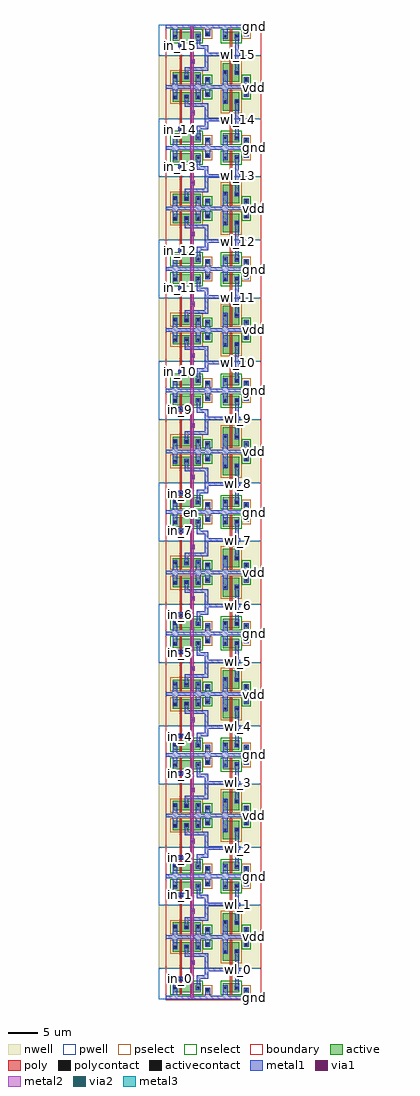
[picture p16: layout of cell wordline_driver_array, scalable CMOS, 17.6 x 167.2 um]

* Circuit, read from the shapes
.subckt wordline_driver_array en gnd in_0 in_1 in_10 in_11 in_12 in_13 in_14 in_15 in_2 in_3 in_4 in_5 in_6 in_7 in_8 in_9 vdd wl_0 wl_1 wl_10 wl_11 wl_12 wl_13 wl_14 wl_15 wl_2 wl_3 wl_4 wl_5 wl_6 wl_7 wl_8 wl_9
M1 wordline_driver_0/pnand2_0/nmos_m1_w1_600_sm1_dactive_2/D in_0 gnd gnd nfet w=1.6u l=0.4u
M2 wordline_driver_1/pnand2_0/nmos_m1_w1_600_sm1_dactive_2/D in_1 gnd gnd nfet w=1.6u l=0.4u
M3 wordline_driver_2/pnand2_0/nmos_m1_w1_600_sm1_dactive_2/D in_2 gnd gnd nfet w=1.6u l=0.4u
M4 wordline_driver_3/pnand2_0/nmos_m1_w1_600_sm1_dactive_2/D in_3 gnd gnd nfet w=1.6u l=0.4u
M5 wordline_driver_4/pnand2_0/nmos_m1_w1_600_sm1_dactive_2/D in_4 gnd gnd nfet w=1.6u l=0.4u
M6 wordline_driver_5/pnand2_0/nmos_m1_w1_600_sm1_dactive_2/D in_5 gnd gnd nfet w=1.6u l=0.4u
M7 wordline_driver_6/pnand2_0/nmos_m1_w1_600_sm1_dactive_2/D in_6 gnd gnd nfet w=1.6u l=0.4u
M8 wordline_driver_7/pnand2_0/nmos_m1_w1_600_sm1_dactive_2/D in_7 gnd gnd nfet w=1.6u l=0.4u
M9 wordline_driver_8/pnand2_0/nmos_m1_w1_600_sm1_dactive_2/D in_8 gnd gnd nfet w=1.6u l=0.4u
M10 wordline_driver_9/pnand2_0/nmos_m1_w1_600_sm1_dactive_2/D in_9 gnd gnd nfet w=1.6u l=0.4u
M11 wordline_driver_10/pnand2_0/nmos_m1_w1_600_sm1_dactive_2/D in_10 gnd gnd nfet w=1.6u l=0.4u
M12 wordline_driver_11/pnand2_0/nmos_m1_w1_600_sm1_dactive_2/D in_11 gnd gnd nfet w=1.6u l=0.4u
M13 wordline_driver_12/pnand2_0/nmos_m1_w1_600_sm1_dactive_2/D in_12 gnd gnd nfet w=1.6u l=0.4u
M14 wordline_driver_13/pnand2_0/nmos_m1_w1_600_sm1_dactive_2/D in_13 gnd gnd nfet w=1.6u l=0.4u
M15 wordline_driver_14/pnand2_0/nmos_m1_w1_600_sm1_dactive_2/D in_14 gnd gnd nfet w=1.6u l=0.4u
M16 wordline_driver_15/pnand2_0/nmos_m1_w1_600_sm1_dactive_2/D in_15 gnd gnd nfet w=1.6u l=0.4u
M17 wordline_driver_0/pinv_0_1/A en wordline_driver_0/pnand2_0/nmos_m1_w1_600_sm1_dactive_2/D gnd nfet w=1.6u l=0.4u
M18 wordline_driver_1/pinv_0_1/A en wordline_driver_1/pnand2_0/nmos_m1_w1_600_sm1_dactive_2/D gnd nfet w=1.6u l=0.4u
M19 wordline_driver_2/pinv_0_1/A en wordline_driver_2/pnand2_0/nmos_m1_w1_600_sm1_dactive_2/D gnd nfet w=1.6u l=0.4u
M20 wordline_driver_3/pinv_0_1/A en wordline_driver_3/pnand2_0/nmos_m1_w1_600_sm1_dactive_2/D gnd nfet w=1.6u l=0.4u
M21 wordline_driver_4/pinv_0_1/A en wordline_driver_4/pnand2_0/nmos_m1_w1_600_sm1_dactive_2/D gnd nfet w=1.6u l=0.4u
M22 wordline_driver_5/pinv_0_1/A en wordline_driver_5/pnand2_0/nmos_m1_w1_600_sm1_dactive_2/D gnd nfet w=1.6u l=0.4u
M23 wordline_driver_6/pinv_0_1/A en wordline_driver_6/pnand2_0/nmos_m1_w1_600_sm1_dactive_2/D gnd nfet w=1.6u l=0.4u
M24 wordline_driver_7/pinv_0_1/A en wordline_driver_7/pnand2_0/nmos_m1_w1_600_sm1_dactive_2/D gnd nfet w=1.6u l=0.4u
M25 wordline_driver_8/pinv_0_1/A en wordline_driver_8/pnand2_0/nmos_m1_w1_600_sm1_dactive_2/D gnd nfet w=1.6u l=0.4u
M26 wordline_driver_9/pinv_0_1/A en wordline_driver_9/pnand2_0/nmos_m1_w1_600_sm1_dactive_2/D gnd nfet w=1.6u l=0.4u
M27 wordline_driver_10/pinv_0_1/A en wordline_driver_10/pnand2_0/nmos_m1_w1_600_sm1_dactive_2/D gnd nfet w=1.6u l=0.4u
M28 wordline_driver_11/pinv_0_1/A en wordline_driver_11/pnand2_0/nmos_m1_w1_600_sm1_dactive_2/D gnd nfet w=1.6u l=0.4u
M29 wordline_driver_12/pinv_0_1/A en wordline_driver_12/pnand2_0/nmos_m1_w1_600_sm1_dactive_2/D gnd nfet w=1.6u l=0.4u
M30 wordline_driver_13/pinv_0_1/A en wordline_driver_13/pnand2_0/nmos_m1_w1_600_sm1_dactive_2/D gnd nfet w=1.6u l=0.4u
M31 wordline_driver_14/pinv_0_1/A en wordline_driver_14/pnand2_0/nmos_m1_w1_600_sm1_dactive_2/D gnd nfet w=1.6u l=0.4u
M32 wordline_driver_15/pinv_0_1/A en wordline_driver_15/pnand2_0/nmos_m1_w1_600_sm1_dactive_2/D gnd nfet w=1.6u l=0.4u
M33 wl_0 wordline_driver_0/pinv_0_1/A gnd gnd nfet w=1.6u l=0.4u
M34 wl_1 wordline_driver_1/pinv_0_1/A gnd gnd nfet w=1.6u l=0.4u
M35 wl_2 wordline_driver_2/pinv_0_1/A gnd gnd nfet w=1.6u l=0.4u
M36 wl_3 wordline_driver_3/pinv_0_1/A gnd gnd nfet w=1.6u l=0.4u
M37 wl_4 wordline_driver_4/pinv_0_1/A gnd gnd nfet w=1.6u l=0.4u
M38 wl_5 wordline_driver_5/pinv_0_1/A gnd gnd nfet w=1.6u l=0.4u
M39 wl_6 wordline_driver_6/pinv_0_1/A gnd gnd nfet w=1.6u l=0.4u
M40 wl_7 wordline_driver_7/pinv_0_1/A gnd gnd nfet w=1.6u l=0.4u
M41 wl_8 wordline_driver_8/pinv_0_1/A gnd gnd nfet w=1.6u l=0.4u
M42 wl_9 wordline_driver_9/pinv_0_1/A gnd gnd nfet w=1.6u l=0.4u
M43 wl_10 wordline_driver_10/pinv_0_1/A gnd gnd nfet w=1.6u l=0.4u
M44 wl_11 wordline_driver_11/pinv_0_1/A gnd gnd nfet w=1.6u l=0.4u
M45 wl_12 wordline_driver_12/pinv_0_1/A gnd gnd nfet w=1.6u l=0.4u
M46 wl_13 wordline_driver_13/pinv_0_1/A gnd gnd nfet w=1.6u l=0.4u
M47 wl_14 wordline_driver_14/pinv_0_1/A gnd gnd nfet w=1.6u l=0.4u
M48 wl_15 wordline_driver_15/pinv_0_1/A gnd gnd nfet w=1.6u l=0.4u
M49 wordline_driver_0/pinv_0_1/A in_0 vdd vdd pfet w=1.6u l=0.4u
M50 wordline_driver_1/pinv_0_1/A in_1 vdd vdd pfet w=1.6u l=0.4u
M51 wordline_driver_2/pinv_0_1/A in_2 vdd vdd pfet w=1.6u l=0.4u
M52 wordline_driver_3/pinv_0_1/A in_3 vdd vdd pfet w=1.6u l=0.4u
M53 wordline_driver_4/pinv_0_1/A in_4 vdd vdd pfet w=1.6u l=0.4u
M54 wordline_driver_5/pinv_0_1/A in_5 vdd vdd pfet w=1.6u l=0.4u
M55 wordline_driver_6/pinv_0_1/A in_6 vdd vdd pfet w=1.6u l=0.4u
M56 wordline_driver_7/pinv_0_1/A in_7 vdd vdd pfet w=1.6u l=0.4u
M57 wordline_driver_8/pinv_0_1/A in_8 vdd vdd pfet w=1.6u l=0.4u
M58 wordline_driver_9/pinv_0_1/A in_9 vdd vdd pfet w=1.6u l=0.4u
M59 wordline_driver_10/pinv_0_1/A in_10 vdd vdd pfet w=1.6u l=0.4u
M60 wordline_driver_11/pinv_0_1/A in_11 vdd vdd pfet w=1.6u l=0.4u
M61 wordline_driver_12/pinv_0_1/A in_12 vdd vdd pfet w=1.6u l=0.4u
M62 wordline_driver_13/pinv_0_1/A in_13 vdd vdd pfet w=1.6u l=0.4u
M63 wordline_driver_14/pinv_0_1/A in_14 vdd vdd pfet w=1.6u l=0.4u
M64 wordline_driver_15/pinv_0_1/A in_15 vdd vdd pfet w=1.6u l=0.4u
M65 vdd en wordline_driver_0/pinv_0_1/A vdd pfet w=1.6u l=0.4u
M66 vdd en wordline_driver_1/pinv_0_1/A vdd pfet w=1.6u l=0.4u
M67 vdd en wordline_driver_2/pinv_0_1/A vdd pfet w=1.6u l=0.4u
M68 vdd en wordline_driver_3/pinv_0_1/A vdd pfet w=1.6u l=0.4u
M69 vdd en wordline_driver_4/pinv_0_1/A vdd pfet w=1.6u l=0.4u
M70 vdd en wordline_driver_5/pinv_0_1/A vdd pfet w=1.6u l=0.4u
M71 vdd en wordline_driver_6/pinv_0_1/A vdd pfet w=1.6u l=0.4u
M72 vdd en wordline_driver_7/pinv_0_1/A vdd pfet w=1.6u l=0.4u
M73 vdd en wordline_driver_8/pinv_0_1/A vdd pfet w=1.6u l=0.4u
M74 vdd en wordline_driver_9/pinv_0_1/A vdd pfet w=1.6u l=0.4u
M75 vdd en wordline_driver_10/pinv_0_1/A vdd pfet w=1.6u l=0.4u
M76 vdd en wordline_driver_11/pinv_0_1/A vdd pfet w=1.6u l=0.4u
M77 vdd en wordline_driver_12/pinv_0_1/A vdd pfet w=1.6u l=0.4u
M78 vdd en wordline_driver_13/pinv_0_1/A vdd pfet w=1.6u l=0.4u
M79 vdd en wordline_driver_14/pinv_0_1/A vdd pfet w=1.6u l=0.4u
M80 vdd en wordline_driver_15/pinv_0_1/A vdd pfet w=1.6u l=0.4u
M81 wl_0 wordline_driver_0/pinv_0_1/A vdd vdd pfet w=3.2u l=0.4u
M82 wl_1 wordline_driver_1/pinv_0_1/A vdd vdd pfet w=3.2u l=0.4u
M83 wl_2 wordline_driver_2/pinv_0_1/A vdd vdd pfet w=3.2u l=0.4u
M84 wl_3 wordline_driver_3/pinv_0_1/A vdd vdd pfet w=3.2u l=0.4u
M85 wl_4 wordline_driver_4/pinv_0_1/A vdd vdd pfet w=3.2u l=0.4u
M86 wl_5 wordline_driver_5/pinv_0_1/A vdd vdd pfet w=3.2u l=0.4u
M87 wl_6 wordline_driver_6/pinv_0_1/A vdd vdd pfet w=3.2u l=0.4u
M88 wl_7 wordline_driver_7/pinv_0_1/A vdd vdd pfet w=3.2u l=0.4u
M89 wl_8 wordline_driver_8/pinv_0_1/A vdd vdd pfet w=3.2u l=0.4u
M90 wl_9 wordline_driver_9/pinv_0_1/A vdd vdd pfet w=3.2u l=0.4u
M91 wl_10 wordline_driver_10/pinv_0_1/A vdd vdd pfet w=3.2u l=0.4u
M92 wl_11 wordline_driver_11/pinv_0_1/A vdd vdd pfet w=3.2u l=0.4u
M93 wl_12 wordline_driver_12/pinv_0_1/A vdd vdd pfet w=3.2u l=0.4u
M94 wl_13 wordline_driver_13/pinv_0_1/A vdd vdd pfet w=3.2u l=0.4u
M95 wl_14 wordline_driver_14/pinv_0_1/A vdd vdd pfet w=3.2u l=0.4u
M96 wl_15 wordline_driver_15/pinv_0_1/A vdd vdd pfet w=3.2u l=0.4u
.ends

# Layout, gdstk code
import gdstk
lib = gdstk.Library(unit=1e-6, precision=1e-09)
def R(c, l, rs):  # rectangles x0, y0, x1, y1
    for r in rs: c.add(gdstk.rectangle(r[:2], r[2:], *l))
def A(c, l, x, y, w, h, nx, ny, dx, dy):  # array of equal rectangles
    R(c, l, [(x+i*dx, y+j*dy, x+i*dx+w, y+j*dy+h) for i in range(nx) for j in range(ny)])
pwell = (41, 0)
nwell = (42, 0)
active = (43, 0)
pselect = (44, 0)
nselect = (45, 0)
poly = (46, 0)
polycontact = (47, 0)
activecontact = (48, 0)
metal1 = (49, 0)
via1 = (50, 0)
metal2 = (51, 0)
via2 = (61, 0)
metal3 = (62, 0)
boundary = (63, 0)

contact_9 = lib.new_cell('contact_9')
R(contact_9, nwell, [(-1.2,-1.2,2,2)])
R(contact_9, active, [(0,0,0.8,0.8)])
R(contact_9, pselect, [(-0.4,-0.4,1.2,1.2)])
R(contact_9, activecontact, [(0.2,0.2,0.6,0.6)])
R(contact_9, metal1, [(0,0,0.8,0.8)])
R(contact_9, boundary, [(-1.2,-1.2,2,2)])

pmos_m1_w1_600_sm1_dm1 = lib.new_cell('pmos_m1_w1_600_sm1_dm1')
R(pmos_m1_w1_600_sm1_dm1, nwell, [(-1.2,-1.2,4,2.8)])
R(pmos_m1_w1_600_sm1_dm1, active, [(0,0,2.8,1.6)])
R(pmos_m1_w1_600_sm1_dm1, pselect, [(-0.4,-0.4,3.2,2)])
R(pmos_m1_w1_600_sm1_dm1, poly, [(1.2,-0.4,1.6,2), (1.2,-0.4,1.6,2)])
R(pmos_m1_w1_600_sm1_dm1, metal1, [(0,0.4,0.8,1.2), (2,0.4,2.8,1.2)])
R(pmos_m1_w1_600_sm1_dm1, boundary, [(-1.2,-1.2,4,2.8)])
pmos_m1_w1_600_sm1_dm1.add(gdstk.Reference(contact_9, (0,0.4)))
pmos_m1_w1_600_sm1_dm1.add(gdstk.Reference(contact_9, (2,0.4)))
pmos_m1_w1_600_sm1_dm1.add(gdstk.Label('G', (1.4,0.8), layer=46, texttype=0))
pmos_m1_w1_600_sm1_dm1.add(gdstk.Label('S', (0.4,0.8), layer=49, texttype=0))
pmos_m1_w1_600_sm1_dm1.add(gdstk.Label('D', (2.4,0.8), layer=49, texttype=0))

contact_14 = lib.new_cell('contact_14')
R(contact_14, pwell, [(-1.2,-1.2,2,2)])
R(contact_14, active, [(0,0,0.8,0.8)])
R(contact_14, nselect, [(-0.4,-0.4,1.2,1.2)])
R(contact_14, activecontact, [(0.2,0.2,0.6,0.6)])
R(contact_14, metal1, [(0,0,0.8,0.8)])
R(contact_14, boundary, [(-1.2,-1.2,2,2)])

nmos_m1_w1_600_sm1_dacti = lib.new_cell('nmos_m1_w1_600_sm1_dactive')
R(nmos_m1_w1_600_sm1_dacti, pwell, [(-1.2,-1.2,4,2.8)])
R(nmos_m1_w1_600_sm1_dacti, active, [(0,0,2.8,1.6), (2.1,0.5,2.7,1.1)])
R(nmos_m1_w1_600_sm1_dacti, nselect, [(-0.4,-0.4,3.2,2)])
R(nmos_m1_w1_600_sm1_dacti, poly, [(1.2,-0.4,1.6,2), (1.2,-0.4,1.6,2)])
R(nmos_m1_w1_600_sm1_dacti, metal1, [(0,0.4,0.8,1.2)])
R(nmos_m1_w1_600_sm1_dacti, boundary, [(-1.2,-1.2,4,2.8)])
nmos_m1_w1_600_sm1_dacti.add(gdstk.Reference(contact_14, (0,0.4)))
nmos_m1_w1_600_sm1_dacti.add(gdstk.Label('G', (1.4,0.8), layer=46, texttype=0))
nmos_m1_w1_600_sm1_dacti.add(gdstk.Label('S', (0.4,0.8), layer=49, texttype=0))
nmos_m1_w1_600_sm1_dacti.add(gdstk.Label('D', (2.4,0.8), layer=43, texttype=0))

nmos_m1_w1_600_sactive_d = lib.new_cell('nmos_m1_w1_600_sactive_dm1')
R(nmos_m1_w1_600_sactive_d, pwell, [(-1.2,-1.2,4,2.8)])
R(nmos_m1_w1_600_sactive_d, active, [(0,0,2.8,1.6), (0.1,0.5,0.7,1.1)])
R(nmos_m1_w1_600_sactive_d, nselect, [(-0.4,-0.4,3.2,2)])
R(nmos_m1_w1_600_sactive_d, poly, [(1.2,-0.4,1.6,2), (1.2,-0.4,1.6,2)])
R(nmos_m1_w1_600_sactive_d, metal1, [(2,0.4,2.8,1.2)])
R(nmos_m1_w1_600_sactive_d, boundary, [(-1.2,-1.2,4,2.8)])
nmos_m1_w1_600_sactive_d.add(gdstk.Reference(contact_14, (2,0.4)))
nmos_m1_w1_600_sactive_d.add(gdstk.Label('G', (1.4,0.8), layer=46, texttype=0))
nmos_m1_w1_600_sactive_d.add(gdstk.Label('S', (0.4,0.8), layer=43, texttype=0))
nmos_m1_w1_600_sactive_d.add(gdstk.Label('D', (2.4,0.8), layer=49, texttype=0))

contact_15 = lib.new_cell('contact_15')
R(contact_15, nwell, [(-1.2,-1.2,2,2)])
R(contact_15, active, [(0,0,0.8,0.8)])
R(contact_15, nselect, [(-0.4,-0.4,1.2,1.2)])
R(contact_15, activecontact, [(0.2,0.2,0.6,0.6)])
R(contact_15, metal1, [(0,0,0.8,0.8)])
R(contact_15, boundary, [(-1.2,-1.2,2,2)])

contact_16 = lib.new_cell('contact_16')
R(contact_16, pwell, [(-1.2,-1.2,2,2)])
R(contact_16, active, [(0,0,0.8,0.8)])
R(contact_16, pselect, [(-0.4,-0.4,1.2,1.2)])
R(contact_16, activecontact, [(0.2,0.2,0.6,0.6)])
R(contact_16, metal1, [(0,0,0.8,0.8)])
R(contact_16, boundary, [(-1.2,-1.2,2,2)])

contact_10 = lib.new_cell('contact_10')
R(contact_10, poly, [(0,0,0.8,0.8)])
R(contact_10, polycontact, [(0.2,0.2,0.6,0.6)])
R(contact_10, metal1, [(0,0,0.8,0.8)])
R(contact_10, boundary, [(0,0,0.8,0.8)])

pnand2 = lib.new_cell('pnand2')
R(pnand2, pwell, [(-1.2,-0.3,9.8,5)])
R(pnand2, nwell, [(-1.2,5,9.8,11.9)])
R(pnand2, poly, [(2.4,2.8,2.6,3.6), (2.4,2.9,2.8,7.5), (4.4,2.9,4.8,7.5), (4.4,5.6,4.6,6.4)])
R(pnand2, metal1, [(0,-0.3,8.6,0.3), (1.2,-0.3,2,1.3), (6.8,0,7.6,1.3), (5.3,2.1,5.9,3.5), (2.2,2.8,3,3.6), (5.3,3.2,5.9,3.8), (5.6,3.2,7,3.8), (6.7,3.2,7.3,3.8), (6.7,3.5,7.3,7.3), (4.2,5.6,5,6.4), (3.3,7,3.9,7.6), (3.6,7,7,7.6), (6.7,7,7.3,7.6), (3.3,7.3,3.9,8.3), (1.2,8.3,2,10.7), (5.2,8.3,6,10.7), (6.8,9.1,7.6,10.4), (0,10.1,8.6,10.7)])
R(pnand2, boundary, [(0,0,8.6,10.4), (0,0,8.6,10.4)])
pnand2.add(gdstk.Reference(pmos_m1_w1_600_sm1_dm1, (1.2,7.9)))
pnand2.add(gdstk.Reference(pmos_m1_w1_600_sm1_dm1, (3.2,7.9)))
pnand2.add(gdstk.Reference(nmos_m1_w1_600_sm1_dacti, (1.2,0.9)))
pnand2.add(gdstk.Reference(nmos_m1_w1_600_sactive_d, (3.2,0.9)))
pnand2.add(gdstk.Reference(contact_15, (6.8,8.7)))
pnand2.add(gdstk.Reference(contact_16, (6.8,0.9)))
pnand2.add(gdstk.Reference(contact_10, (2.2,2.8)))
pnand2.add(gdstk.Reference(contact_10, (4.2,5.6)))
pnand2.add(gdstk.Label('Z', (7,7.3), layer=49, texttype=0))
pnand2.add(gdstk.Label('gnd', (4.3,0), layer=49, texttype=0))
pnand2.add(gdstk.Label('vdd', (4.3,10.4), layer=49, texttype=0))
pnand2.add(gdstk.Label('A', (2.6,3.2), layer=49, texttype=0))
pnand2.add(gdstk.Label('B', (4.6,6), layer=49, texttype=0))

pmos_m1_w3_200_sm1_dm1_d = lib.new_cell('pmos_m1_w3_200_sm1_dm1_da_p')
R(pmos_m1_w3_200_sm1_dm1_d, nwell, [(-1.2,-1.2,4,4.4)])
R(pmos_m1_w3_200_sm1_dm1_d, active, [(0,0,2.8,3.2)])
R(pmos_m1_w3_200_sm1_dm1_d, pselect, [(-0.4,-0.4,3.2,3.6)])
R(pmos_m1_w3_200_sm1_dm1_d, poly, [(1.2,-0.4,1.6,3.6), (1.2,-0.4,1.6,3.6)])
R(pmos_m1_w3_200_sm1_dm1_d, metal1, [(0,1.2,0.8,2), (2,1.2,2.8,2)])
R(pmos_m1_w3_200_sm1_dm1_d, boundary, [(-1.2,-1.2,4,4.4)])
pmos_m1_w3_200_sm1_dm1_d.add(gdstk.Reference(contact_9, (0,1.2)))
pmos_m1_w3_200_sm1_dm1_d.add(gdstk.Reference(contact_9, (2,1.2)))
pmos_m1_w3_200_sm1_dm1_d.add(gdstk.Label('G', (1.4,1.6), layer=46, texttype=0))
pmos_m1_w3_200_sm1_dm1_d.add(gdstk.Label('S', (0.4,1.6), layer=49, texttype=0))
pmos_m1_w3_200_sm1_dm1_d.add(gdstk.Label('D', (2.4,1.6), layer=49, texttype=0))

nmos_m1_w1_600_sm1_dm1_d = lib.new_cell('nmos_m1_w1_600_sm1_dm1_da_p')
R(nmos_m1_w1_600_sm1_dm1_d, pwell, [(-1.2,-1.2,4,2.8)])
R(nmos_m1_w1_600_sm1_dm1_d, active, [(0,0,2.8,1.6)])
R(nmos_m1_w1_600_sm1_dm1_d, nselect, [(-0.4,-0.4,3.2,2)])
R(nmos_m1_w1_600_sm1_dm1_d, poly, [(1.2,-0.4,1.6,2), (1.2,-0.4,1.6,2)])
R(nmos_m1_w1_600_sm1_dm1_d, metal1, [(0,0.4,0.8,1.2), (2,0.4,2.8,1.2)])
R(nmos_m1_w1_600_sm1_dm1_d, boundary, [(-1.2,-1.2,4,2.8)])
nmos_m1_w1_600_sm1_dm1_d.add(gdstk.Reference(contact_14, (0,0.4)))
nmos_m1_w1_600_sm1_dm1_d.add(gdstk.Reference(contact_14, (2,0.4)))
nmos_m1_w1_600_sm1_dm1_d.add(gdstk.Label('G', (1.4,0.8), layer=46, texttype=0))
nmos_m1_w1_600_sm1_dm1_d.add(gdstk.Label('S', (0.4,0.8), layer=49, texttype=0))
nmos_m1_w1_600_sm1_dm1_d.add(gdstk.Label('D', (2.4,0.8), layer=49, texttype=0))

pinv_0 = lib.new_cell('pinv_0')
R(pinv_0, pwell, [(-1.2,-0.3,7.8,5)])
R(pinv_0, nwell, [(-1.2,5,7.8,11.9)])
R(pinv_0, poly, [(2.4,2.9,2.8,5.9), (2,4.4,2.4,5.2)])
R(pinv_0, metal1, [(0,-0.3,6.6,0.3), (1.2,-0.3,2,1.3), (4.8,0,5.6,1.3), (3.3,1.3,3.9,8.3), (1.6,4.4,2.4,5.2), (3.6,4.5,4.2,5.1), (1.2,7.5,2,10.7), (4.8,9.1,5.6,10.4), (0,10.1,6.6,10.7)])
R(pinv_0, boundary, [(0,0,6.6,10.4), (0,0,6.6,10.4)])
pinv_0.add(gdstk.Reference(pmos_m1_w3_200_sm1_dm1_d, (1.2,6.3)))
pinv_0.add(gdstk.Reference(nmos_m1_w1_600_sm1_dm1_d, (1.2,0.9)))
pinv_0.add(gdstk.Reference(contact_15, (4.8,8.7)))
pinv_0.add(gdstk.Reference(contact_16, (4.8,0.9)))
pinv_0.add(gdstk.Reference(contact_10, (1.6,4.4)))
pinv_0.add(gdstk.Label('A', (2,4.8), layer=49, texttype=0))
pinv_0.add(gdstk.Label('Z', (3.9,4.8), layer=49, texttype=0))
pinv_0.add(gdstk.Label('gnd', (3.3,0), layer=49, texttype=0))
pinv_0.add(gdstk.Label('vdd', (3.3,10.4), layer=49, texttype=0))

wordline_driver = lib.new_cell('wordline_driver')
R(wordline_driver, metal1, [(0,-0.3,15.2,0.3), (2.2,2.8,3,3.6), (6.7,4.5,7.3,5.1), (7,4.5,10.6,5.1), (12.2,4.5,12.8,5.1), (6.7,4.8,7.3,7.3), (4.2,5.6,5,6.4), (0,10.1,15.2,10.7)])
R(wordline_driver, boundary, [(0,0,15.2,10.4)])
wordline_driver.add(gdstk.Reference(pnand2, (0,0)))
wordline_driver.add(gdstk.Reference(pinv_0, (8.6,0)))
wordline_driver.add(gdstk.Label('Z', (12.5,4.8), layer=49, texttype=0))
wordline_driver.add(gdstk.Label('A', (2.6,3.2), layer=49, texttype=0))
wordline_driver.add(gdstk.Label('B', (4.6,6), layer=49, texttype=0))
wordline_driver.add(gdstk.Label('gnd', (7.6,0), layer=49, texttype=0))
wordline_driver.add(gdstk.Label('vdd', (7.6,10.4), layer=49, texttype=0))

contact_6 = lib.new_cell('contact_6')
R(contact_6, metal1, [(0,0,0.8,0.8)])
R(contact_6, via1, [(0.2,0.2,0.6,0.6)])
R(contact_6, metal2, [(0,0,0.8,0.8)])
R(contact_6, boundary, [(0,0,0.8,0.8)])

contact_7 = lib.new_cell('contact_7')
R(contact_7, metal2, [(0,0,0.8,0.8)])
R(contact_7, via2, [(0.2,0.2,0.6,0.6)])
R(contact_7, metal3, [(0,0,0.8,0.8)])
R(contact_7, boundary, [(0,0,0.8,0.8)])

wordline_driver_array = lib.new_cell('wordline_driver_array')
R(wordline_driver_array, metal1, [(2.2,3.2,3,4), (12.2,4.9,12.8,5.5), (12.2,16.1,12.8,16.7), (2.2,17.6,3,18.4), (2.2,24,3,24.8), (12.2,25.7,12.8,26.3), (12.2,36.9,12.8,37.5), (2.2,38.4,3,39.2), (2.2,44.8,3,45.6), (12.2,46.5,12.8,47.1), (12.2,57.7,12.8,58.3), (2.2,59.2,3,60), (2.2,65.6,3,66.4), (12.2,67.3,12.8,67.9), (12.2,78.5,12.8,79.1), (2.2,80,3,80.8), (2.2,86.4,3,87.2), (12.2,88.1,12.8,88.7), (12.2,99.3,12.8,99.9), (2.2,100.8,3,101.6), (2.2,107.2,3,108), (12.2,108.9,12.8,109.5), (12.2,120.1,12.8,120.7), (2.2,121.6,3,122.4), (2.2,128,3,128.8), (12.2,129.7,12.8,130.3), (12.2,140.9,12.8,141.5), (2.2,142.4,3,143.2), (2.2,148.8,3,149.6), (12.2,150.5,12.8,151.1), (12.2,161.7,12.8,162.3), (2.2,163.2,3,164)])
R(wordline_driver_array, metal2, [(4.2,0.4,4.8,166.8)])
A(wordline_driver_array, metal3, 14.8, 10.4, 0.8, 0.8, 1, 3, 0, 10.4)
A(wordline_driver_array, metal3, 14.8, 31.2, 0.8, 0.8, 1, 5, 0, 10.4)
A(wordline_driver_array, metal3, 14.8, 72.8, 0.8, 0.8, 1, 3, 0, 10.4)
A(wordline_driver_array, metal3, 14.8, 93.6, 0.8, 0.8, 1, 8, 0, 10.4)
R(wordline_driver_array, metal3, [(14.8,0,15.6,0.8), (14.8,10.4,15.6,11.2)])
R(wordline_driver_array, boundary, [(0,0,16.4,166.4)])
wordline_driver_array.add(gdstk.Reference(wordline_driver, (0,0.4)))
wordline_driver_array.add(gdstk.Reference(wordline_driver, (0,21.2), x_reflection=True))
wordline_driver_array.add(gdstk.Reference(wordline_driver, (0,21.2)))
wordline_driver_array.add(gdstk.Reference(wordline_driver, (0,42), x_reflection=True))
wordline_driver_array.add(gdstk.Reference(wordline_driver, (0,42)))
wordline_driver_array.add(gdstk.Reference(wordline_driver, (0,62.8), x_reflection=True))
wordline_driver_array.add(gdstk.Reference(wordline_driver, (0,62.8)))
wordline_driver_array.add(gdstk.Reference(wordline_driver, (0,83.6), x_reflection=True))
wordline_driver_array.add(gdstk.Reference(wordline_driver, (0,83.6)))
wordline_driver_array.add(gdstk.Reference(wordline_driver, (0,104.4), x_reflection=True))
wordline_driver_array.add(gdstk.Reference(wordline_driver, (0,104.4)))
wordline_driver_array.add(gdstk.Reference(wordline_driver, (0,125.2), x_reflection=True))
wordline_driver_array.add(gdstk.Reference(wordline_driver, (0,125.2)))
wordline_driver_array.add(gdstk.Reference(wordline_driver, (0,146), x_reflection=True))
wordline_driver_array.add(gdstk.Reference(wordline_driver, (0,146)))
wordline_driver_array.add(gdstk.Reference(wordline_driver, (0,166.8), x_reflection=True))
wordline_driver_array.add(gdstk.Reference(contact_6, (4.2,6)))
wordline_driver_array.add(gdstk.Reference(contact_6, (4.2,14.8)))
wordline_driver_array.add(gdstk.Reference(contact_6, (4.2,26.8)))
wordline_driver_array.add(gdstk.Reference(contact_6, (4.2,35.6)))
wordline_driver_array.add(gdstk.Reference(contact_6, (4.2,47.6)))
wordline_driver_array.add(gdstk.Reference(contact_6, (4.2,56.4)))
wordline_driver_array.add(gdstk.Reference(contact_6, (4.2,68.4)))
wordline_driver_array.add(gdstk.Reference(contact_6, (4.2,77.2)))
wordline_driver_array.add(gdstk.Reference(contact_6, (4.2,89.2)))
wordline_driver_array.add(gdstk.Reference(contact_6, (4.2,98)))
wordline_driver_array.add(gdstk.Reference(contact_6, (4.2,110)))
wordline_driver_array.add(gdstk.Reference(contact_6, (4.2,118.8)))
wordline_driver_array.add(gdstk.Reference(contact_6, (4.2,130.8)))
wordline_driver_array.add(gdstk.Reference(contact_6, (4.2,139.6)))
wordline_driver_array.add(gdstk.Reference(contact_6, (4.2,151.6)))
wordline_driver_array.add(gdstk.Reference(contact_6, (4.2,160.4)))
wordline_driver_array.add(gdstk.Reference(contact_6, (14.8,10.4)))
wordline_driver_array.add(gdstk.Reference(contact_7, (14.8,10.4)))
wordline_driver_array.add(gdstk.Reference(contact_6, (14.8,0)))
wordline_driver_array.add(gdstk.Reference(contact_7, (14.8,0)))
wordline_driver_array.add(gdstk.Reference(contact_6, (14.8,10.4)))
wordline_driver_array.add(gdstk.Reference(contact_7, (14.8,10.4)))
wordline_driver_array.add(gdstk.Reference(contact_6, (14.8,20.8)))
wordline_driver_array.add(gdstk.Reference(contact_7, (14.8,20.8)))
wordline_driver_array.add(gdstk.Reference(contact_6, (14.8,31.2)))
wordline_driver_array.add(gdstk.Reference(contact_7, (14.8,31.2)))
wordline_driver_array.add(gdstk.Reference(contact_6, (14.8,20.8)))
wordline_driver_array.add(gdstk.Reference(contact_7, (14.8,20.8)))
wordline_driver_array.add(gdstk.Reference(contact_6, (14.8,31.2)))
wordline_driver_array.add(gdstk.Reference(contact_7, (14.8,31.2)))
wordline_driver_array.add(gdstk.Reference(contact_6, (14.8,41.6)))
wordline_driver_array.add(gdstk.Reference(contact_7, (14.8,41.6)))
wordline_driver_array.add(gdstk.Reference(contact_6, (14.8,52)))
wordline_driver_array.add(gdstk.Reference(contact_7, (14.8,52)))
wordline_driver_array.add(gdstk.Reference(contact_6, (14.8,41.6)))
wordline_driver_array.add(gdstk.Reference(contact_7, (14.8,41.6)))
wordline_driver_array.add(gdstk.Reference(contact_6, (14.8,52)))
wordline_driver_array.add(gdstk.Reference(contact_7, (14.8,52)))
wordline_driver_array.add(gdstk.Reference(contact_6, (14.8,62.4)))
wordline_driver_array.add(gdstk.Reference(contact_7, (14.8,62.4)))
wordline_driver_array.add(gdstk.Reference(contact_6, (14.8,72.8)))
wordline_driver_array.add(gdstk.Reference(contact_7, (14.8,72.8)))
wordline_driver_array.add(gdstk.Reference(contact_6, (14.8,62.4)))
wordline_driver_array.add(gdstk.Reference(contact_7, (14.8,62.4)))
wordline_driver_array.add(gdstk.Reference(contact_6, (14.8,72.8)))
wordline_driver_array.add(gdstk.Reference(contact_7, (14.8,72.8)))
wordline_driver_array.add(gdstk.Reference(contact_6, (14.8,83.2)))
wordline_driver_array.add(gdstk.Reference(contact_7, (14.8,83.2)))
wordline_driver_array.add(gdstk.Reference(contact_6, (14.8,93.6)))
wordline_driver_array.add(gdstk.Reference(contact_7, (14.8,93.6)))
wordline_driver_array.add(gdstk.Reference(contact_6, (14.8,83.2)))
wordline_driver_array.add(gdstk.Reference(contact_7, (14.8,83.2)))
wordline_driver_array.add(gdstk.Reference(contact_6, (14.8,93.6)))
wordline_driver_array.add(gdstk.Reference(contact_7, (14.8,93.6)))
wordline_driver_array.add(gdstk.Reference(contact_6, (14.8,104)))
wordline_driver_array.add(gdstk.Reference(contact_7, (14.8,104)))
wordline_driver_array.add(gdstk.Reference(contact_6, (14.8,114.4)))
wordline_driver_array.add(gdstk.Reference(contact_7, (14.8,114.4)))
wordline_driver_array.add(gdstk.Reference(contact_6, (14.8,104)))
wordline_driver_array.add(gdstk.Reference(contact_7, (14.8,104)))
wordline_driver_array.add(gdstk.Reference(contact_6, (14.8,114.4)))
wordline_driver_array.add(gdstk.Reference(contact_7, (14.8,114.4)))
wordline_driver_array.add(gdstk.Reference(contact_6, (14.8,124.8)))
wordline_driver_array.add(gdstk.Reference(contact_7, (14.8,124.8)))
wordline_driver_array.add(gdstk.Reference(contact_6, (14.8,135.2)))
wordline_driver_array.add(gdstk.Reference(contact_7, (14.8,135.2)))
wordline_driver_array.add(gdstk.Reference(contact_6, (14.8,124.8)))
wordline_driver_array.add(gdstk.Reference(contact_7, (14.8,124.8)))
wordline_driver_array.add(gdstk.Reference(contact_6, (14.8,135.2)))
wordline_driver_array.add(gdstk.Reference(contact_7, (14.8,135.2)))
wordline_driver_array.add(gdstk.Reference(contact_6, (14.8,145.6)))
wordline_driver_array.add(gdstk.Reference(contact_7, (14.8,145.6)))
wordline_driver_array.add(gdstk.Reference(contact_6, (14.8,156)))
wordline_driver_array.add(gdstk.Reference(contact_7, (14.8,156)))
wordline_driver_array.add(gdstk.Reference(contact_6, (14.8,145.6)))
wordline_driver_array.add(gdstk.Reference(contact_7, (14.8,145.6)))
wordline_driver_array.add(gdstk.Reference(contact_6, (14.8,156)))
wordline_driver_array.add(gdstk.Reference(contact_7, (14.8,156)))
wordline_driver_array.add(gdstk.Reference(contact_6, (14.8,166.4)))
wordline_driver_array.add(gdstk.Reference(contact_7, (14.8,166.4)))
wordline_driver_array.add(gdstk.Label('en', (4.5,83.6), layer=51, texttype=0))
wordline_driver_array.add(gdstk.Label('in_0', (2.6,3.6), layer=49, texttype=0))
wordline_driver_array.add(gdstk.Label('wl_0', (12.5,5.2), layer=49, texttype=0))
wordline_driver_array.add(gdstk.Label('in_1', (2.6,18), layer=49, texttype=0))
wordline_driver_array.add(gdstk.Label('wl_1', (12.5,16.4), layer=49, texttype=0))
wordline_driver_array.add(gdstk.Label('in_2', (2.6,24.4), layer=49, texttype=0))
wordline_driver_array.add(gdstk.Label('wl_2', (12.5,26), layer=49, texttype=0))
wordline_driver_array.add(gdstk.Label('in_3', (2.6,38.8), layer=49, texttype=0))
wordline_driver_array.add(gdstk.Label('wl_3', (12.5,37.2), layer=49, texttype=0))
wordline_driver_array.add(gdstk.Label('in_4', (2.6,45.2), layer=49, texttype=0))
wordline_driver_array.add(gdstk.Label('wl_4', (12.5,46.8), layer=49, texttype=0))
wordline_driver_array.add(gdstk.Label('in_5', (2.6,59.6), layer=49, texttype=0))
wordline_driver_array.add(gdstk.Label('wl_5', (12.5,58), layer=49, texttype=0))
wordline_driver_array.add(gdstk.Label('in_6', (2.6,66), layer=49, texttype=0))
wordline_driver_array.add(gdstk.Label('wl_6', (12.5,67.6), layer=49, texttype=0))
wordline_driver_array.add(gdstk.Label('in_7', (2.6,80.4), layer=49, texttype=0))
wordline_driver_array.add(gdstk.Label('wl_7', (12.5,78.8), layer=49, texttype=0))
wordline_driver_array.add(gdstk.Label('in_8', (2.6,86.8), layer=49, texttype=0))
wordline_driver_array.add(gdstk.Label('wl_8', (12.5,88.4), layer=49, texttype=0))
wordline_driver_array.add(gdstk.Label('in_9', (2.6,101.2), layer=49, texttype=0))
wordline_driver_array.add(gdstk.Label('wl_9', (12.5,99.6), layer=49, texttype=0))
wordline_driver_array.add(gdstk.Label('in_10', (2.6,107.6), layer=49, texttype=0))
wordline_driver_array.add(gdstk.Label('wl_10', (12.5,109.2), layer=49, texttype=0))
wordline_driver_array.add(gdstk.Label('in_11', (2.6,122), layer=49, texttype=0))
wordline_driver_array.add(gdstk.Label('wl_11', (12.5,120.4), layer=49, texttype=0))
wordline_driver_array.add(gdstk.Label('in_12', (2.6,128.4), layer=49, texttype=0))
wordline_driver_array.add(gdstk.Label('wl_12', (12.5,130), layer=49, texttype=0))
wordline_driver_array.add(gdstk.Label('in_13', (2.6,142.8), layer=49, texttype=0))
wordline_driver_array.add(gdstk.Label('wl_13', (12.5,141.2), layer=49, texttype=0))
wordline_driver_array.add(gdstk.Label('in_14', (2.6,149.2), layer=49, texttype=0))
wordline_driver_array.add(gdstk.Label('wl_14', (12.5,150.8), layer=49, texttype=0))
wordline_driver_array.add(gdstk.Label('in_15', (2.6,163.6), layer=49, texttype=0))
wordline_driver_array.add(gdstk.Label('wl_15', (12.5,162), layer=49, texttype=0))
wordline_driver_array.add(gdstk.Label('vdd', (15.2,52.4), layer=62, texttype=0))
wordline_driver_array.add(gdstk.Label('vdd', (15.2,114.8), layer=62, texttype=0))
wordline_driver_array.add(gdstk.Label('vdd', (15.2,73.2), layer=62, texttype=0))
wordline_driver_array.add(gdstk.Label('vdd', (15.2,73.2), layer=62, texttype=0))
wordline_driver_array.add(gdstk.Label('vdd', (15.2,94), layer=62, texttype=0))
wordline_driver_array.add(gdstk.Label('vdd', (15.2,94), layer=62, texttype=0))
wordline_driver_array.add(gdstk.Label('vdd', (15.2,31.6), layer=62, texttype=0))
wordline_driver_array.add(gdstk.Label('vdd', (15.2,31.6), layer=62, texttype=0))
wordline_driver_array.add(gdstk.Label('vdd', (15.2,10.8), layer=62, texttype=0))
wordline_driver_array.add(gdstk.Label('vdd', (15.2,10.8), layer=62, texttype=0))
wordline_driver_array.add(gdstk.Label('vdd', (15.2,156.4), layer=62, texttype=0))
wordline_driver_array.add(gdstk.Label('vdd', (15.2,135.6), layer=62, texttype=0))
wordline_driver_array.add(gdstk.Label('gnd', (15.2,166.8), layer=62, texttype=0))
wordline_driver_array.add(gdstk.Label('gnd', (15.2,62.8), layer=62, texttype=0))
wordline_driver_array.add(gdstk.Label('gnd', (15.2,42), layer=62, texttype=0))
wordline_driver_array.add(gdstk.Label('gnd', (15.2,146), layer=62, texttype=0))
wordline_driver_array.add(gdstk.Label('gnd', (15.2,0.4), layer=62, texttype=0))
wordline_driver_array.add(gdstk.Label('gnd', (15.2,83.6), layer=62, texttype=0))
wordline_driver_array.add(gdstk.Label('gnd', (15.2,21.2), layer=62, texttype=0))
wordline_driver_array.add(gdstk.Label('gnd', (15.2,104.4), layer=62, texttype=0))
wordline_driver_array.add(gdstk.Label('gnd', (15.2,125.2), layer=62, texttype=0))

lib.write_gds('wordline_driver_array.gds')
